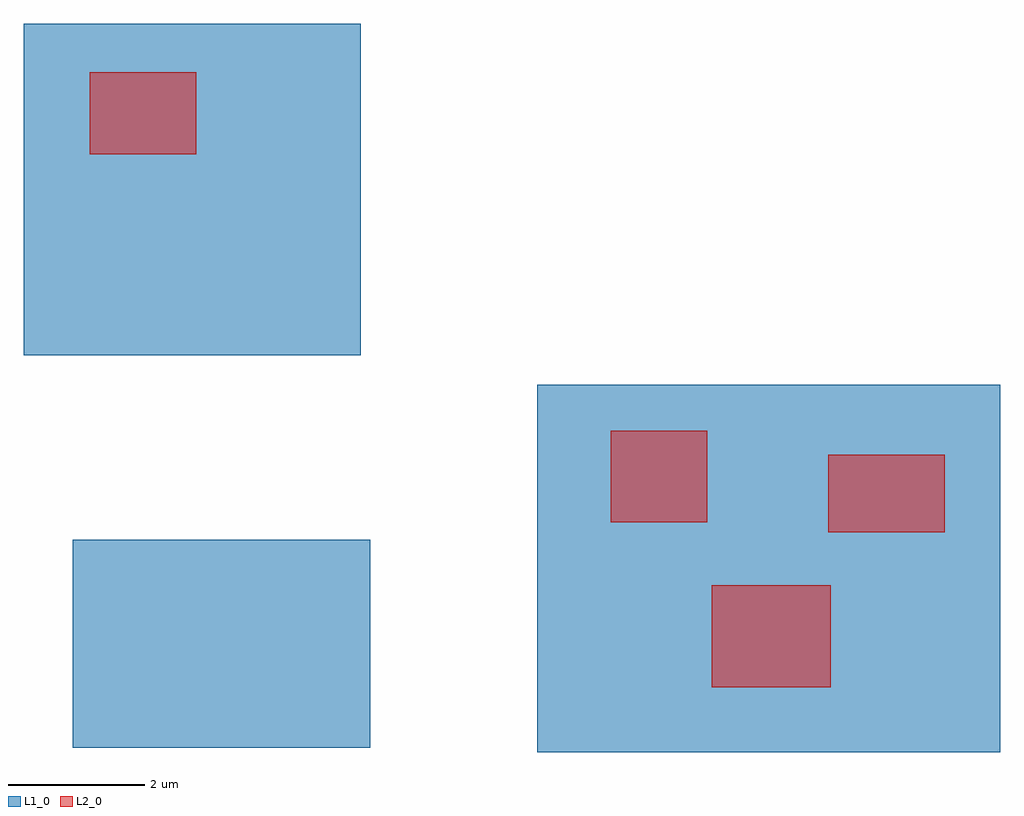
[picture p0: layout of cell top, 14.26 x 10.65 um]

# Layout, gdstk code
import gdstk
lib = gdstk.Library(unit=1e-6, precision=1e-09)
def R(c, l, rs):  # rectangles x0, y0, x1, y1
    for r in rs: c.add(gdstk.rectangle(r[:2], r[2:], *l))
L1_0 = (1, 0)
L2_0 = (2, 0)

top = lib.new_cell('top')
R(top, L1_0, [(9.37,1.17,16.13,6.54), (2.58,1.24,6.93,4.28), (1.87,6.97,6.79,11.82)])
R(top, L2_0, [(11.92,2.12,13.66,3.61), (13.62,4.39,15.32,5.52), (10.44,4.53,11.85,5.87), (2.83,9.91,4.39,11.11)])

lib.write_gds('top.gds')
